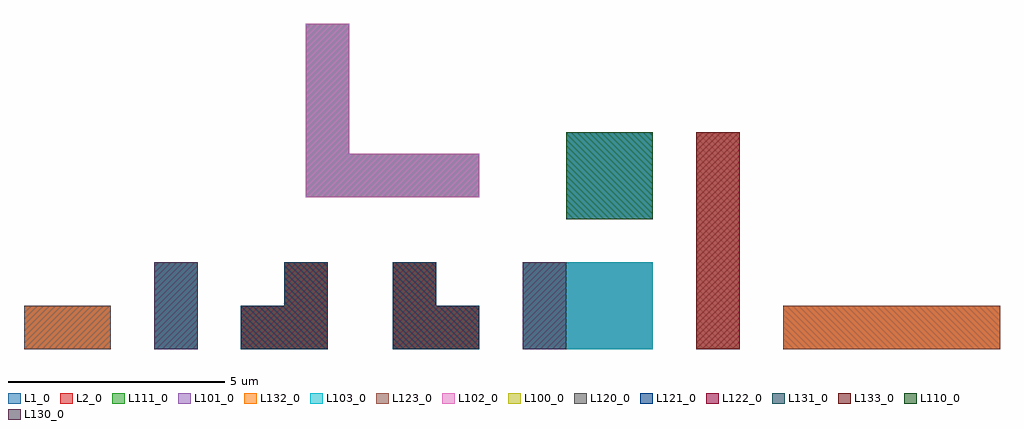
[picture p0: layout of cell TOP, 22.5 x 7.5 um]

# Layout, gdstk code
import gdstk
lib = gdstk.Library(unit=1e-6, precision=1e-09)
def R(c, l, rs):  # rectangles x0, y0, x1, y1
    for r in rs: c.add(gdstk.rectangle(r[:2], r[2:], *l))
def P(c, l, *ps):  # polygons
    for p in ps: c.add(gdstk.Polygon(p, *l))
L1_0 = (1, 0)
L2_0 = (2, 0)
L100_0 = (100, 0)
L101_0 = (101, 0)
L102_0 = (102, 0)
L103_0 = (103, 0)
L110_0 = (110, 0)
L111_0 = (111, 0)
L120_0 = (120, 0)
L121_0 = (121, 0)
L122_0 = (122, 0)
L123_0 = (123, 0)
L130_0 = (130, 0)
L131_0 = (131, 0)
L132_0 = (132, 0)
L133_0 = (133, 0)

top = lib.new_cell('TOP')
R(top, L1_0, [(-5.5,0,-4.5,2), (-3.5,0,-1.5,1), (-2.5,0,-1.5,2), (0,0,1,2), (0,0,2,1), (3,0,4,2), (4,0,6,2), (4,3,6,5), (-2,3.5,-1,7.5), (-2,3.5,2,4.5)])
R(top, L2_0, [(-8.5,0,-6.5,1), (-5.5,0,-4.5,2), (-3.5,0,-1.5,1), (-2.5,0,-1.5,2), (0,0,2,1), (0,0,1,2), (3,0,4,2), (7,0,8,5), (9,0,14,1)])
P(top, L100_0, [(-3.5,0),(-3.5,1),(-2.5,1),(-2.5,2),(-1.5,2),(-1.5,0)],
  [(0,0),(0,2),(1,2),(1,1),(2,1),(2,0)])
R(top, L101_0, [(-5.5,0,-4.5,2), (3,0,6,2), (4,3,6,5)])
P(top, L101_0, [(-2,3.5),(-2,7.5),(-1,7.5),(-1,4.5),(2,4.5),(2,3.5)])
P(top, L102_0, [(-2,3.5),(-2,7.5),(-1,7.5),(-1,4.5),(2,4.5),(2,3.5)])
R(top, L103_0, [(-5.5,0,-4.5,2), (3,0,6,2), (4,3,6,5)])
R(top, L110_0, [(4,3,6,5)])
R(top, L111_0, [(-5.5,0,-4.5,2), (3,0,6,2)])
P(top, L111_0, [(-3.5,0),(-3.5,1),(-2.5,1),(-2.5,2),(-1.5,2),(-1.5,0)],
  [(0,0),(0,2),(1,2),(1,1),(2,1),(2,0)],
  [(-2,3.5),(-2,7.5),(-1,7.5),(-1,4.5),(2,4.5),(2,3.5)])
R(top, L120_0, [(-8.5,0,-6.5,1), (-5.5,0,-4.5,2), (3,0,4,2)])
P(top, L121_0, [(-3.5,0),(-3.5,1),(-2.5,1),(-2.5,2),(-1.5,2),(-1.5,0)],
  [(0,0),(0,2),(1,2),(1,1),(2,1),(2,0)])
P(top, L122_0, [(-3.5,0),(-3.5,1),(-2.5,1),(-2.5,2),(-1.5,2),(-1.5,0)],
  [(0,0),(0,2),(1,2),(1,1),(2,1),(2,0)])
R(top, L123_0, [(7,0,8,5), (9,0,14,1)])
R(top, L130_0, [(-5.5,0,-4.5,2), (3,0,4,2)])
P(top, L131_0, [(-3.5,0),(-3.5,1),(-2.5,1),(-2.5,2),(-1.5,2),(-1.5,0)],
  [(0,0),(0,2),(1,2),(1,1),(2,1),(2,0)])
R(top, L132_0, [(-8.5,0,-6.5,1), (9,0,14,1)])
P(top, L132_0, [(-3.5,0),(-3.5,1),(-2.5,1),(-2.5,2),(-1.5,2),(-1.5,0)],
  [(0,0),(0,2),(1,2),(1,1),(2,1),(2,0)])
R(top, L133_0, [(7,0,8,5)])

lib.write_gds('TOP.gds')
